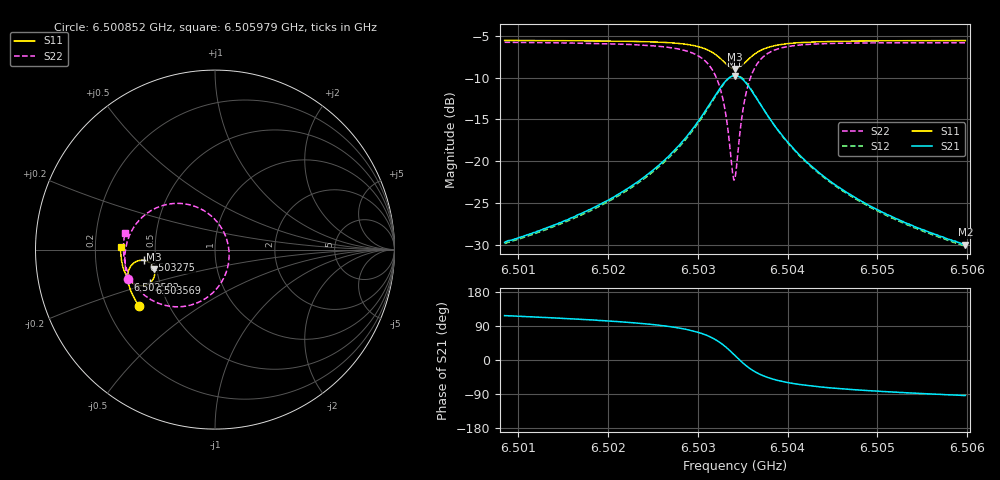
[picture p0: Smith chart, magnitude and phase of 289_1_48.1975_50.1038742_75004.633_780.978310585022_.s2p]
#  HZ  S  RI  R  50.00
! Rohde & Schwarz Vector Network Analyzer
! Rohde-Schwarz,ZNB20-2Port,1311601062101988,3.16
! Created: UTC 3/20/2024, 11:48:59 AM
! freq[Hz]  re:S11  im:S11  re:S21  im:S21  re:S12  im:S12  re:S22  im:S22
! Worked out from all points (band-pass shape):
!   401 points, 6.500852 GHz to 6.505979 GHz, reference 50 ohm
!   highest |S21| = -9.76 dB at 6.503416 GHz (marker M1); lowest = -29.9 dB at 6.505979 GHz (marker M2)
!   |S21| within 3 dB of the highest: 6.503159 GHz to 6.503672 GHz (513 kHz wide, 0.00789 % of centre)
!   lowest |S11| = -9.0 dB at 6.503416 GHz (marker M3), VSWR 2.10, Z = 24.2 - j6.04 ohm
!   |S11| at or under -10 dB: nowhere
!   |S22| runs from -22.3 to -5.8 dB; largest |S21 - S12| = 0.011
!   S11 on the Smith chart (normalised r, x): 6.500852 GHz: 0.34, -0.30; 6.502582 GHz: 0.33, -0.15; 6.503275 GHz: 0.43, -0.06; 6.503569 GHz: 0.44, -0.20; 6.505979 GHz: 0.31, +0.01
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6.5008524e9  -0.4218 -0.3152  -0.015 0.0292  -0.0134 0.0293  -0.487 -0.1628
6.501711e9  -0.4593 -0.2526  -0.0144 0.0468  -0.012 0.0464  -0.5018 -0.073
6.5021724e9  -0.4759 -0.2124  -0.0117 0.0652  -0.0087 0.0643  -0.4999 -0.00905
6.5025697e9  -0.4857 -0.1694  -0.00292 0.0949  0.000717 0.0926  -0.4811 0.0681
6.5025825e9  -0.4859 -0.1679  -0.00231 0.0963  0.00136 0.094  -0.4799 0.071
6.502826e9  -0.4853 -0.1325  0.016 0.1293  0.0198 0.1255  -0.4414 0.1406
6.5030054e9  -0.4738 -0.0993  0.0507 0.1652  0.0538 0.1598  -0.373 0.2065
6.503172e9  -0.4391 -0.0664  0.128 0.1984  0.1293 0.192  -0.231 0.2568
6.5032745e9  -0.3966 -0.0597  0.2129 0.1894  0.2133 0.184  -0.083 0.2287
6.5033258e9  -0.3712 -0.0684  0.261 0.1614  0.2618 0.1567  -0.00329 0.1713
6.5033899e9  -0.3449 -0.0947  0.3081 0.0981  0.3107 0.0931  0.0676 0.0495
6.5034155e9  -0.3386 -0.109  0.3181 0.0662  0.3212 0.0603  0.0782 -0.00974
6.5034283e9  -0.3367 -0.1167  0.3208 0.0495  0.3239 0.0433  0.0787 -0.0402
6.5035052e9  -0.3429 -0.1611  0.3038 -0.044  0.3056 -0.0538  0.0208 -0.2039
6.5035693e9  -0.3639 -0.1866  0.2613 -0.0972  0.26 -0.1085  -0.0747 -0.2852
6.5036718e9  -0.4029 -0.2015  0.1876 -0.133  0.1822 -0.1423  -0.2227 -0.3183
6.5038384e9  -0.4485 -0.1917  0.1071 -0.13  0.1001 -0.1349  -0.3678 -0.2723
6.5040178e9  -0.4756 -0.1703  0.0631 -0.1103  0.057 -0.1124  -0.4388 -0.2082
6.5042741e9  -0.4961 -0.1403  0.0336 -0.0864  0.0289 -0.0868  -0.4816 -0.1365
6.5046586e9  -0.5117 -0.1007  0.0147 -0.0634  0.0115 -0.0631  -0.5039 -0.062
6.5051328e9  -0.5212 -0.0571  0.00487 -0.0472  0.00268 -0.0465  -0.5099 0.0037
6.5059786e9  -0.5259 0.0142  -0.002 -0.0318  -0.00339 -0.031  -0.5018 0.092
